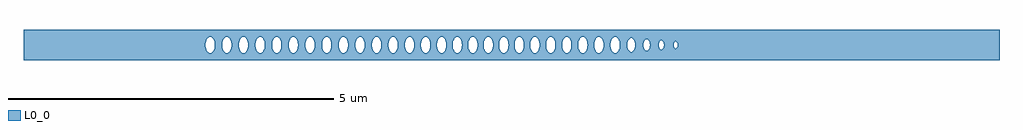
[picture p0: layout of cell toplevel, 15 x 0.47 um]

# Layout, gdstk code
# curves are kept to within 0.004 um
import gdstk
lib = gdstk.Library(unit=1e-6, precision=1e-09)
def P(c, l, *ps):  # polygons
    for p in ps: c.add(gdstk.Polygon(p, *l))
L0_0 = (0, 0)

toplevel = lib.new_cell('toplevel')
P(toplevel, L0_0, [(-4.189,0.032),(-4.169,0.093),(-4.137,0.123),(-4.137,0.234),(-7.5,0.234),(-7.5,-0.016),(-4.703,-0.016),(-4.701,0.032),(-4.69,0.075),(-4.666,0.112),(-4.631,0.128),(-4.604,0.119),(-4.581,0.093),(-4.562,0.039),(-4.559,0),(-4.448,0),(-4.441,0.054),(-4.425,0.093),(-4.402,0.119),(-4.375,0.128),(-4.348,0.119),(-4.329,0.098),(-4.314,0.068),(-4.303,0.016),(-4.306,-0.039),(-4.319,-0.081),(-4.348,-0.119),(-4.375,-0.128),(-4.402,-0.119),(-4.425,-0.093),(-4.441,-0.054),(-4.448,0),(-4.559,0),(-4.562,-0.039),(-4.581,-0.093),(-4.604,-0.119),(-4.631,-0.128),(-4.658,-0.119),(-4.681,-0.093),(-4.697,-0.054),(-4.703,-0.016),(-7.5,-0.016),(-7.5,-0.234),(-4.137,-0.234),(-4.137,-0.123),(-4.162,-0.103),(-4.183,-0.061),(-4.192,-0.008)],
  [(1.414,-0.032),(1.405,-0.068),(1.382,-0.108),(1.357,-0.125),(1.33,-0.125),(1.305,-0.108),(1.285,-0.075),(1.273,-0.032),(1.271,0.008),(1.276,0.047),(1.294,0.093),(1.317,0.119),(1.343,0.128),(1.37,0.119),(1.39,0.098),(1.405,0.068),(1.416,0.008),(1.416,0.234),(0.836,0.234),(0.836,0.125),(0.868,0.123),(0.896,0.098),(0.919,0.039),(0.922,-0.008),(1.024,-0.008),(1.029,0.047),(1.047,0.093),(1.07,0.119),(1.097,0.128),(1.123,0.119),(1.143,0.098),(1.158,0.068),(1.169,0.008),(1.164,-0.047),(1.146,-0.093),(1.123,-0.119),(1.097,-0.128),(1.07,-0.119),(1.05,-0.098),(1.035,-0.068),(1.024,-0.008),(0.922,-0.008),(0.911,-0.068),(0.896,-0.098),(0.868,-0.123),(0.836,-0.125),(0.836,-0.234),(1.416,-0.234)],
  [(2.064,0.089),(2.09,0.089),(2.113,0.067),(2.127,0.028),(2.129,-0.009),(2.262,-0.009),(2.271,0.047),(2.286,0.067),(2.306,0.074),(2.322,0.067),(2.338,0.043),(2.345,-0.007),(2.492,-0.007),(2.499,0.036),(2.512,0.052),(2.526,0.056),(2.548,0.036),(2.555,-0.01),(2.544,-0.043),(2.522,-0.056),(2.502,-0.041),(2.492,-0.007),(2.345,-0.007),(2.332,-0.054),(2.322,-0.067),(2.301,-0.074),(2.275,-0.054),(2.262,-0.009),(2.129,-0.009),(2.119,-0.054),(2.099,-0.083),(2.077,-0.092),(2.049,-0.077),(2.049,-0.234),(7.5,-0.234),(7.5,0.234),(2.049,0.234),(2.049,0.077)],
  [(-4.049,-0.032),(-4.063,-0.081),(-4.08,-0.108),(-4.106,-0.125),(-4.137,-0.123),(-4.137,-0.234),(-3.837,-0.234),(-3.837,-0.119),(-3.863,-0.128),(-3.89,-0.119),(-3.902,-0.108),(-3.925,-0.068),(-3.936,-0.008),(-3.931,0.047),(-3.91,0.098),(-3.877,0.125),(-3.863,0.128),(-3.837,0.119),(-3.837,0.234),(-4.137,0.234),(-4.137,0.123),(-4.119,0.128),(-4.093,0.119),(-4.063,0.081),(-4.047,0.016)],
  [(-3.536,-0.027),(-3.546,-0.068),(-3.561,-0.098),(-3.581,-0.119),(-3.608,-0.128),(-3.634,-0.119),(-3.654,-0.098),(-3.669,-0.068),(-3.68,-0.008),(-3.678,0.032),(-3.666,0.075),(-3.646,0.108),(-3.617,0.126),(-3.585,0.121),(-3.561,0.098),(-3.546,0.068),(-3.536,0.024),(-3.536,0.234),(-3.837,0.234),(-3.837,0.119),(-3.817,0.098),(-3.802,0.068),(-3.791,0.008),(-3.802,-0.068),(-3.817,-0.098),(-3.837,-0.119),(-3.837,-0.234),(-3.536,-0.234)],
  [(-3.536,-0.234),(-3.152,-0.234),(-3.152,-0.081),(-3.168,-0.016),(-3.165,0.039),(-3.152,0.081),(-3.152,0.234),(-3.536,0.234),(-3.535,-0.008),(-3.424,-0.008),(-3.421,0.039),(-3.401,0.093),(-3.378,0.119),(-3.352,0.128),(-3.325,0.119),(-3.302,0.093),(-3.284,0.047),(-3.279,0.008),(-3.284,-0.047),(-3.302,-0.093),(-3.325,-0.119),(-3.352,-0.128),(-3.378,-0.119),(-3.398,-0.098),(-3.413,-0.068),(-3.424,-0.008),(-3.535,-0.008)],
  [(-3.145,0.093),(-3.131,0.112),(-3.109,0.125),(-3.096,0.128),(-3.069,0.119),(-3.037,0.075),(-3.023,0),(-3.037,-0.075),(-3.069,-0.119),(-3.096,-0.128),(-3.114,-0.123),(-3.135,-0.108),(-3.152,-0.081),(-3.152,-0.234),(-2.862,-0.234),(-2.862,-0.121),(-2.879,-0.108),(-2.899,-0.075),(-2.912,-0.016),(-2.91,0.032),(-2.899,0.075),(-2.879,0.108),(-2.862,0.121),(-2.862,0.234),(-3.152,0.234),(-3.152,0.081)],
  [(-2.771,-0.039),(-2.781,-0.075),(-2.805,-0.112),(-2.84,-0.128),(-2.862,-0.121),(-2.862,-0.234),(-2.557,-0.234),(-2.557,-0.119),(-2.584,-0.128),(-2.611,-0.119),(-2.623,-0.108),(-2.643,-0.075),(-2.656,-0.016),(-2.65,0.054),(-2.627,0.103),(-2.598,0.125),(-2.584,0.128),(-2.557,0.119),(-2.557,0.234),(-2.862,0.234),(-2.862,0.121),(-2.84,0.128),(-2.826,0.125),(-2.805,0.112),(-2.79,0.093),(-2.771,0.039)],
  [(-2.261,-0.047),(-2.272,-0.081),(-2.293,-0.112),(-2.315,-0.125),(-2.342,-0.125),(-2.367,-0.108),(-2.387,-0.075),(-2.401,0),(-2.387,0.075),(-2.367,0.108),(-2.342,0.125),(-2.315,0.125),(-2.293,0.112),(-2.272,0.081),(-2.261,0.047),(-2.261,0.234),(-2.557,0.234),(-2.557,0.119),(-2.525,0.075),(-2.512,0.016),(-2.514,-0.032),(-2.525,-0.075),(-2.557,-0.119),(-2.557,-0.234),(-2.261,-0.234)],
  [(-1.889,0.032),(-1.88,0.068),(-1.88,0.234),(-2.261,0.234),(-2.256,-0.016),(-2.145,-0.016),(-2.142,0.039),(-2.129,0.081),(-2.108,0.112),(-2.073,0.128),(-2.046,0.119),(-2.023,0.093),(-2.005,0.047),(-2,0.008),(-2.005,-0.047),(-2.023,-0.093),(-2.046,-0.119),(-2.073,-0.128),(-2.099,-0.119),(-2.119,-0.098),(-2.134,-0.068),(-2.145,-0.016),(-2.256,-0.016),(-2.261,-0.047),(-2.261,-0.234),(-1.88,-0.234),(-1.88,-0.068),(-1.891,-0.016)],
  [(-1.868,0.093),(-1.854,0.112),(-1.832,0.125),(-1.819,0.128),(-1.792,0.119),(-1.76,0.075),(-1.751,0.047),(-1.746,-0.008),(-1.76,-0.075),(-1.776,-0.103),(-1.796,-0.121),(-1.819,-0.128),(-1.845,-0.119),(-1.865,-0.098),(-1.88,-0.068),(-1.88,-0.234),(-1.585,-0.234),(-1.585,-0.123),(-1.606,-0.108),(-1.626,-0.075),(-1.64,-0.008),(-1.635,0.047),(-1.626,0.075),(-1.606,0.108),(-1.585,0.123),(-1.585,0.234),(-1.88,0.234),(-1.88,0.068)],
  [(-1.498,-0.039),(-1.511,-0.081),(-1.532,-0.112),(-1.567,-0.128),(-1.585,-0.123),(-1.585,-0.234),(-1.28,-0.234),(-1.28,-0.108),(-1.292,-0.119),(-1.319,-0.128),(-1.346,-0.119),(-1.378,-0.075),(-1.391,-0.016),(-1.386,0.047),(-1.378,0.075),(-1.358,0.108),(-1.346,0.119),(-1.319,0.128),(-1.292,0.119),(-1.28,0.108),(-1.28,0.234),(-1.585,0.234),(-1.585,0.123),(-1.567,0.128),(-1.541,0.119),(-1.514,0.087),(-1.497,0.032)],
  [(-1.007,-0.047),(-1.018,-0.081),(-1.039,-0.112),(-1.061,-0.125),(-1.088,-0.125),(-1.113,-0.108),(-1.133,-0.075),(-1.147,0),(-1.133,0.075),(-1.113,0.108),(-1.088,0.125),(-1.061,0.125),(-1.039,0.112),(-1.018,0.081),(-1.007,0.047),(-1.007,0.234),(-1.28,0.234),(-1.28,0.108),(-1.26,0.075),(-1.247,0.016),(-1.253,-0.054),(-1.28,-0.108),(-1.28,-0.234),(-1.007,-0.234)],
  [(-0.665,0.016),(-0.655,0.068),(-0.655,0.234),(-1.007,0.234),(-1.002,-0.008),(-0.905,-0.008),(-0.9,0.047),(-0.882,0.093),(-0.859,0.119),(-0.833,0.128),(-0.806,0.119),(-0.786,0.098),(-0.771,0.068),(-0.76,0.008),(-0.765,-0.047),(-0.783,-0.093),(-0.806,-0.119),(-0.833,-0.128),(-0.859,-0.119),(-0.879,-0.098),(-0.894,-0.068),(-0.905,-0.008),(-1.002,-0.008),(-1.007,-0.047),(-1.007,-0.234),(-0.655,-0.234),(-0.655,-0.068),(-0.665,-0.024)],
  [(-0.643,0.093),(-0.628,0.112),(-0.607,0.125),(-0.593,0.128),(-0.567,0.119),(-0.547,0.098),(-0.532,0.068),(-0.521,-0.008),(-0.535,-0.075),(-0.555,-0.108),(-0.575,-0.123),(-0.593,-0.128),(-0.62,-0.119),(-0.64,-0.098),(-0.655,-0.068),(-0.655,-0.234),(-0.365,-0.234),(-0.365,-0.126),(-0.391,-0.112),(-0.409,-0.087),(-0.428,-0.016),(-0.425,0.039),(-0.412,0.081),(-0.391,0.112),(-0.365,0.126),(-0.365,0.234),(-0.655,0.234),(-0.655,0.068)],
  [(-0.286,-0.032),(-0.297,-0.075),(-0.317,-0.108),(-0.342,-0.125),(-0.365,-0.126),(-0.365,-0.234),(-0.092,-0.234),(-0.092,-0.119),(-0.119,-0.128),(-0.145,-0.119),(-0.157,-0.108),(-0.18,-0.068),(-0.191,-0.008),(-0.186,0.047),(-0.165,0.098),(-0.132,0.125),(-0.119,0.128),(-0.092,0.119),(-0.092,0.234),(-0.365,0.234),(-0.365,0.126),(-0.329,0.119),(-0.306,0.093),(-0.287,0.039)],
  [(0.188,-0.041),(0.178,-0.075),(0.158,-0.108),(0.133,-0.125),(0.11,-0.126),(0.084,-0.112),(0.07,-0.093),(0.052,-0.047),(0.047,-0.008),(0.049,0.032),(0.061,0.075),(0.084,0.112),(0.106,0.125),(0.133,0.125),(0.158,0.108),(0.178,0.075),(0.188,0.039),(0.188,0.234),(-0.092,0.234),(-0.092,0.119),(-0.072,0.098),(-0.057,0.068),(-0.046,0.008),(-0.057,-0.068),(-0.072,-0.098),(-0.092,-0.119),(-0.092,-0.234),(0.188,-0.234)],
  [(0.189,-0.032),(0.188,-0.234),(0.533,-0.234),(0.533,0.234),(0.188,0.234),(0.192,0),(0.287,0),(0.292,0.047),(0.31,0.093),(0.333,0.119),(0.36,0.128),(0.386,0.119),(0.406,0.098),(0.421,0.068),(0.432,0.016),(0.429,-0.04),(0.416,-0.081),(0.395,-0.112),(0.36,-0.128),(0.333,-0.119),(0.31,-0.093),(0.292,-0.047),(0.287,0),(0.192,0)],
  [(0.536,0.047),(0.554,0.093),(0.569,0.112),(0.59,0.125),(0.617,0.125),(0.642,0.108),(0.662,0.075),(0.674,0.032),(0.676,-0.008),(0.671,-0.047),(0.653,-0.093),(0.63,-0.119),(0.604,-0.128),(0.577,-0.119),(0.557,-0.098),(0.533,-0.032),(0.533,-0.234),(0.836,-0.234),(0.836,-0.125),(0.815,-0.112),(0.8,-0.093),(0.782,-0.047),(0.777,-0.008),(0.782,0.047),(0.791,0.075),(0.811,0.108),(0.836,0.125),(0.836,0.234),(0.533,0.234)],
  [(1.779,0.021),(1.788,0.058),(1.788,0.234),(1.416,0.234),(1.416,-0.016),(1.521,-0.016),(1.523,0.032),(1.534,0.075),(1.558,0.112),(1.593,0.128),(1.62,0.119),(1.639,0.098),(1.654,0.068),(1.665,0.016),(1.662,-0.039),(1.649,-0.081),(1.62,-0.119),(1.593,-0.128),(1.566,-0.119),(1.543,-0.093),(1.529,-0.061),(1.521,-0.016),(1.416,-0.016),(1.416,-0.234),(1.788,-0.234),(1.788,-0.059),(1.778,-0.014)],
  [(1.79,0.064),(1.81,0.096),(1.828,0.108),(1.848,0.109),(1.863,0.102),(1.877,0.089),(1.893,0.059),(1.902,-0.014),(1.895,-0.053),(1.883,-0.08),(1.852,-0.108),(1.832,-0.109),(1.817,-0.102),(1.8,-0.084),(1.788,-0.059),(1.788,-0.234),(2.049,-0.234),(2.049,-0.077),(2.031,-0.044),(2.025,-0.011),(2.031,0.044),(2.049,0.077),(2.049,0.234),(1.788,0.234)])

lib.write_gds('toplevel.gds')
